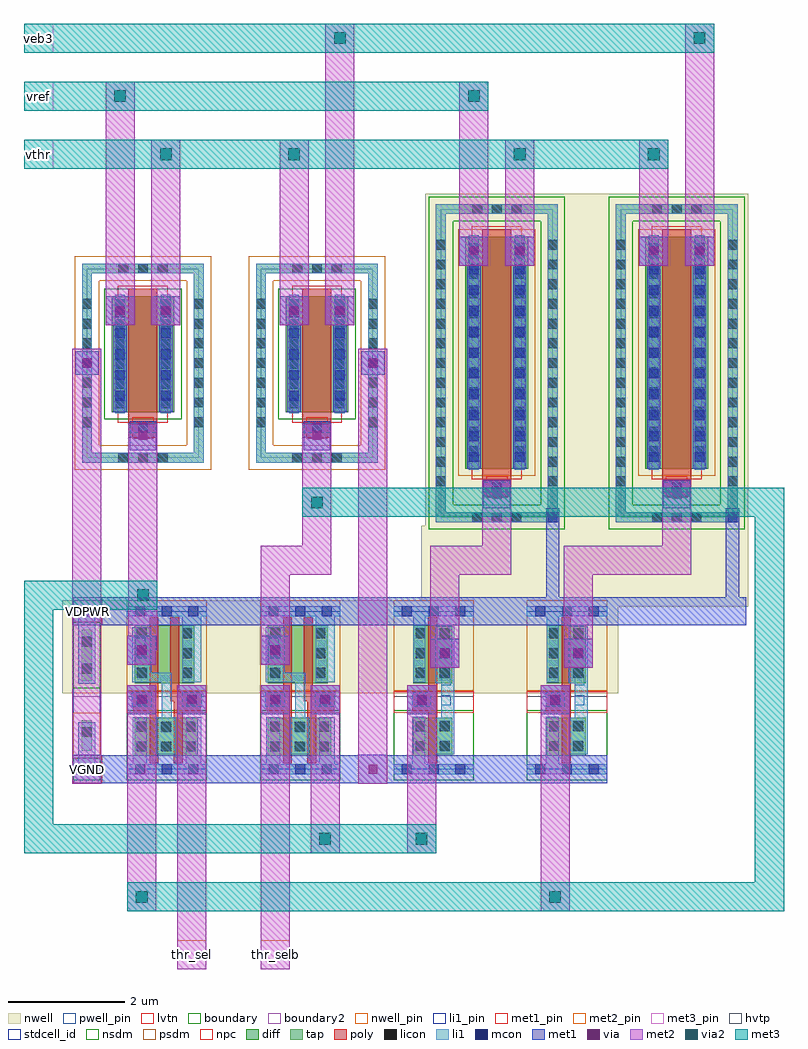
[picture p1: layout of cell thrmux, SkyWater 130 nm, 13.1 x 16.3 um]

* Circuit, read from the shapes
.subckt thrmux VDPWR VGND thr_sel thr_selb veb3 vref vthr
XM1 vthr sky130_fd_sc_hd__inv_1_8/A vref VGND sky130_fd_pr__nfet_01v8_lvt w=2 l=0.5
XM2 sky130_fd_sc_hd__inv_1_8/A sky130_fd_sc_hd__inv_1_7/A VGND VGND sky130_fd_pr__nfet_01v8 w=0.65 l=0.15
XM3 VGND thr_sel sky130_fd_sc_hd__inv_1_8/A VGND sky130_fd_pr__nfet_01v8 w=0.65 l=0.15
XM4 sky130_fd_sc_hd__inv_1_7/A thr_selb VGND VGND sky130_fd_pr__nfet_01v8 w=0.65 l=0.15
XM5 veb3 sky130_fd_sc_hd__inv_1_7/A vthr VGND sky130_fd_pr__nfet_01v8_lvt w=2 l=0.5
XM6 VGND sky130_fd_sc_hd__inv_1_8/A sky130_fd_sc_hd__inv_1_7/A VGND sky130_fd_pr__nfet_01v8 w=0.65 l=0.15
XM7 sky130_fd_pr__pfet_01v8_lvt_Q2BRHB_0/G sky130_fd_sc_hd__inv_1_8/A VGND VGND sky130_fd_pr__nfet_01v8 w=0.65 l=0.15
XM8 sky130_fd_pr__pfet_01v8_lvt_Q2BRHB_1/G sky130_fd_sc_hd__inv_1_7/A VGND VGND sky130_fd_pr__nfet_01v8 w=0.65 l=0.15
XM9 n1 sky130_fd_sc_hd__inv_1_7/A sky130_fd_sc_hd__inv_1_8/A VDPWR sky130_fd_pr__pfet_01v8_hvt w=1 l=0.15
XM10 VDPWR thr_sel n1 VDPWR sky130_fd_pr__pfet_01v8_hvt w=1 l=0.15
XM11 n2 thr_selb sky130_fd_sc_hd__inv_1_7/A VDPWR sky130_fd_pr__pfet_01v8_hvt w=1 l=0.15
XM12 VDPWR sky130_fd_sc_hd__inv_1_8/A n2 VDPWR sky130_fd_pr__pfet_01v8_hvt w=1 l=0.15
XM13 sky130_fd_pr__pfet_01v8_lvt_Q2BRHB_0/G sky130_fd_sc_hd__inv_1_8/A VDPWR VDPWR sky130_fd_pr__pfet_01v8_hvt w=1 l=0.15
XM14 vthr sky130_fd_pr__pfet_01v8_lvt_Q2BRHB_0/G vref VDPWR sky130_fd_pr__pfet_01v8_lvt w=4 l=0.5
XM15 sky130_fd_pr__pfet_01v8_lvt_Q2BRHB_1/G sky130_fd_sc_hd__inv_1_7/A VDPWR VDPWR sky130_fd_pr__pfet_01v8_hvt w=1 l=0.15
XM16 veb3 sky130_fd_pr__pfet_01v8_lvt_Q2BRHB_1/G vthr VDPWR sky130_fd_pr__pfet_01v8_lvt w=4 l=0.5
.ends

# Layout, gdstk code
import gdstk
lib = gdstk.Library(unit=1e-6, precision=1e-09)
def R(c, l, rs):  # rectangles x0, y0, x1, y1
    for r in rs: c.add(gdstk.rectangle(r[:2], r[2:], *l))
def A(c, l, x, y, w, h, nx, ny, dx, dy):  # array of equal rectangles
    R(c, l, [(x+i*dx, y+j*dy, x+i*dx+w, y+j*dy+h) for i in range(nx) for j in range(ny)])
def P(c, l, *ps):  # polygons
    for p in ps: c.add(gdstk.Polygon(p, *l))
nwell_pin = (64, 16)
nwell = (64, 20)
diff = (65, 20)
tap = (65, 44)
poly = (66, 20)
licon = (66, 44)
li1_pin = (67, 16)
li1 = (67, 20)
mcon = (67, 44)
met1_pin = (68, 16)
met1 = (68, 20)
via = (68, 44)
met2_pin = (69, 16)
met2 = (69, 20)
via2 = (69, 44)
met3_pin = (70, 16)
met3 = (70, 20)
hvtp = (78, 44)
stdcell_id = (81, 4)
nsdm = (93, 44)
psdm = (94, 20)
npc = (95, 20)
pwell_pin = (122, 16)
lvtn = (125, 44)
boundary = (235, 4)
boundary2 = (236, 0)

sky130_fd_pr__pfet_01v8_ = lib.new_cell('sky130_fd_pr__pfet_01v8_lvt_Q2BRHB')
R(sky130_fd_pr__pfet_01v8_, nwell, [(-1.23,-2.92,1.23,2.92)])
R(sky130_fd_pr__pfet_01v8_, diff, [(-0.54,-1.82,0.54,2.18)])
R(sky130_fd_pr__pfet_01v8_, tap, [(-1.05,-2.74,1.05,-2.57), (-1.05,-2.57,-0.88,2.57), (0.88,-2.57,1.05,2.57), (-1.05,2.57,1.05,2.74)])
R(sky130_fd_pr__pfet_01v8_, poly, [(-0.25,-2.305,0.25,2.31)])
A(sky130_fd_pr__pfet_01v8_, licon, -0.425, -2.74, 0.17, 0.17, 3, 2, 0.34, 5.31)
A(sky130_fd_pr__pfet_01v8_, licon, -1.05, -2.125, 0.17, 0.17, 1, 13, 0, 0.34)
A(sky130_fd_pr__pfet_01v8_, licon, 0.88, -2.125, 0.17, 0.17, 1, 13, 0, 0.34)
A(sky130_fd_pr__pfet_01v8_, licon, -0.48, -1.605, 0.17, 0.17, 1, 11, 0, 0.34)
A(sky130_fd_pr__pfet_01v8_, licon, 0.31, -1.605, 0.17, 0.17, 1, 11, 0, 0.34)
R(sky130_fd_pr__pfet_01v8_, licon, [(-0.085,-2.225,0.085,-2.055)])
R(sky130_fd_pr__pfet_01v8_, li1, [(-1.05,-2.74,1.05,-2.57), (-1.05,-2.57,-0.88,2.57), (0.88,-2.57,1.05,2.57), (-0.25,-2.225,0.25,-2.055), (-0.48,-1.84,-0.31,2.2), (0.31,-1.84,0.48,2.2), (-1.05,2.57,1.05,2.74)])
A(sky130_fd_pr__pfet_01v8_, mcon, -0.48, -1.705, 0.17, 0.17, 1, 11, 0, 0.36)
A(sky130_fd_pr__pfet_01v8_, mcon, 0.31, -1.705, 0.17, 0.17, 1, 11, 0, 0.36)
R(sky130_fd_pr__pfet_01v8_, mcon, [(-0.085,-2.225,0.085,-2.055)])
R(sky130_fd_pr__pfet_01v8_, met1, [(-0.23,-2.255,0.23,-2.025), (-0.51,-1.82,-0.28,2.18), (0.28,-1.82,0.51,2.18)])
R(sky130_fd_pr__pfet_01v8_, nsdm, [(-1.175,-2.865,1.175,-2.445), (-1.175,-2.445,-0.755,2.445), (0.755,-2.445,1.175,2.445), (-1.175,2.445,1.175,2.865)])
R(sky130_fd_pr__pfet_01v8_, psdm, [(-0.665,-1.945,0.665,2.305)])
R(sky130_fd_pr__pfet_01v8_, npc, [(-0.185,-2.325,0.185,-1.955)])
R(sky130_fd_pr__pfet_01v8_, lvtn, [(-0.43,-2,0.43,2.36)])
R(sky130_fd_pr__pfet_01v8_, boundary, [(-0.965,-2.655,0.965,2.655)])
sky130_fd_pr__pfet_01v8_.add(gdstk.Label('B', (0,-2.655), layer=67, texttype=5))
sky130_fd_pr__pfet_01v8_.add(gdstk.Label('D', (-0.395,0.18), layer=67, texttype=5))
sky130_fd_pr__pfet_01v8_.add(gdstk.Label('S', (0.395,0.18), layer=67, texttype=5))
sky130_fd_pr__pfet_01v8_.add(gdstk.Label('G', (0,-2.14), layer=67, texttype=5))

sky130_fd_pr__nfet_01v8_ = lib.new_cell('sky130_fd_pr__nfet_01v8_lvt_Q7Y8Y5')
R(sky130_fd_pr__nfet_01v8_, diff, [(-0.54,-0.845,0.54,1.155)])
R(sky130_fd_pr__nfet_01v8_, tap, [(-1.05,-1.715,1.05,-1.545), (-1.05,-1.545,-0.88,1.545), (0.88,-1.545,1.05,1.545), (-1.05,1.545,1.05,1.715)])
R(sky130_fd_pr__nfet_01v8_, poly, [(-0.25,-1.285,0.25,1.285)])
A(sky130_fd_pr__nfet_01v8_, licon, -0.425, -1.715, 0.17, 0.17, 3, 2, 0.34, 3.26)
A(sky130_fd_pr__nfet_01v8_, licon, -1.05, -1.105, 0.17, 0.17, 1, 7, 0, 0.34)
A(sky130_fd_pr__nfet_01v8_, licon, 0.88, -1.105, 0.17, 0.17, 1, 7, 0, 0.34)
A(sky130_fd_pr__nfet_01v8_, licon, -0.48, -0.78, 0.17, 0.17, 1, 6, 0, 0.34)
A(sky130_fd_pr__nfet_01v8_, licon, 0.31, -0.78, 0.17, 0.17, 1, 6, 0, 0.34)
R(sky130_fd_pr__nfet_01v8_, licon, [(-0.085,-1.205,0.085,-1.035)])
R(sky130_fd_pr__nfet_01v8_, li1, [(-1.05,-1.715,1.05,-1.545), (-1.05,-1.545,-0.88,1.545), (0.88,-1.545,1.05,1.545), (-0.25,-1.205,0.25,-1.035), (-0.48,-0.865,-0.31,1.175), (0.31,-0.865,0.48,1.175), (-1.05,1.545,1.05,1.715)])
A(sky130_fd_pr__nfet_01v8_, mcon, -0.48, -0.65, 0.17, 0.17, 1, 5, 0, 0.36)
A(sky130_fd_pr__nfet_01v8_, mcon, 0.31, -0.65, 0.17, 0.17, 1, 5, 0, 0.36)
R(sky130_fd_pr__nfet_01v8_, mcon, [(-0.085,-1.205,0.085,-1.035)])
R(sky130_fd_pr__nfet_01v8_, met1, [(-0.23,-1.235,0.23,-1.005), (-0.51,-0.845,-0.28,1.155), (0.28,-0.845,0.51,1.155)])
R(sky130_fd_pr__nfet_01v8_, nsdm, [(-0.665,-0.97,0.665,1.28)])
R(sky130_fd_pr__nfet_01v8_, psdm, [(-1.175,-1.84,1.175,-1.42), (-1.175,-1.42,-0.755,1.42), (0.755,-1.42,1.175,1.42), (-1.175,1.42,1.175,1.84)])
R(sky130_fd_pr__nfet_01v8_, npc, [(-0.185,-1.305,0.185,-0.935)])
R(sky130_fd_pr__nfet_01v8_, lvtn, [(-0.43,-1.025,0.43,1.335)])
R(sky130_fd_pr__nfet_01v8_, boundary, [(-0.965,-1.63,0.965,1.63)])
sky130_fd_pr__nfet_01v8_.add(gdstk.Label('B', (0,-1.63), layer=67, texttype=5))
sky130_fd_pr__nfet_01v8_.add(gdstk.Label('D', (-0.395,0.155), layer=67, texttype=5))
sky130_fd_pr__nfet_01v8_.add(gdstk.Label('S', (0.395,0.155), layer=67, texttype=5))
sky130_fd_pr__nfet_01v8_.add(gdstk.Label('G', (0,-1.12), layer=67, texttype=5))

sky130_fd_sc_hd__tapvpwr = lib.new_cell('sky130_fd_sc_hd__tapvpwrvgnd_1')
R(sky130_fd_sc_hd__tapvpwr, nwell, [(-0.19,1.305,0.65,2.91)])
R(sky130_fd_sc_hd__tapvpwr, tap, [(0.145,0.32,0.315,0.845), (0.145,1.525,0.315,2.4)])
R(sky130_fd_sc_hd__tapvpwr, licon, [(0.145,0.555,0.315,0.725), (0.145,1.645,0.315,1.815), (0.145,2.11,0.315,2.28)])
R(sky130_fd_sc_hd__tapvpwr, li1, [(0,-0.085,0.46,0.085), (0.085,0,0.375,0.81), (0.085,1.47,0.375,2.72), (0,2.635,0.46,2.805)])
R(sky130_fd_sc_hd__tapvpwr, mcon, [(0.145,-0.085,0.315,0.085), (0.145,2.635,0.315,2.805)])
R(sky130_fd_sc_hd__tapvpwr, met1_pin, [(0.105,-0.09,0.36,0.1), (0.11,2.62,0.375,2.765)])
R(sky130_fd_sc_hd__tapvpwr, met1, [(0,-0.24,0.46,0.24), (0,2.48,0.46,2.96)])
R(sky130_fd_sc_hd__tapvpwr, hvtp, [(0,1.25,0.46,2.72)])
R(sky130_fd_sc_hd__tapvpwr, stdcell_id, [(0,0,0.46,2.72)])
R(sky130_fd_sc_hd__tapvpwr, nsdm, [(0,-0.19,0.46,0.19), (0,1.395,0.46,2.53)])
R(sky130_fd_sc_hd__tapvpwr, psdm, [(0,0.19,0.46,0.975), (0,2.53,0.46,2.91)])
sky130_fd_sc_hd__tapvpwr.add(gdstk.Label('VPWR', (0.23,2.72), layer=68, texttype=5))
sky130_fd_sc_hd__tapvpwr.add(gdstk.Label('VGND', (0.23,0), layer=68, texttype=5))
sky130_fd_sc_hd__tapvpwr.add(gdstk.Label('tapvpwrvgnd_1', (0,0), layer=83, texttype=44))

sky130_fd_sc_hd__nor2_1 = lib.new_cell('sky130_fd_sc_hd__nor2_1')
R(sky130_fd_sc_hd__nor2_1, nwell_pin, [(0.15,2.635,0.32,2.805)])
R(sky130_fd_sc_hd__nor2_1, nwell, [(-0.19,1.305,1.57,2.91)])
R(sky130_fd_sc_hd__nor2_1, diff, [(0.135,0.235,1.225,0.885), (0.135,1.485,1.165,2.485)])
P(sky130_fd_sc_hd__nor2_1, poly, [(1.275,1.325),(0.905,1.325),(0.905,2.615),(0.755,2.615),(0.755,1.175),(0.815,1.175),(0.815,0.105),(0.965,0.105),(0.965,0.995),(1.275,0.995)],
  [(0.545,2.615),(0.395,2.615),(0.395,1.325),(0.11,1.325),(0.11,0.995),(0.395,0.995),(0.395,0.105),(0.545,0.105)])
A(sky130_fd_sc_hd__nor2_1, licon, 0.175, 0.305, 0.17, 0.17, 3, 2, 0.42, 0.34)
A(sky130_fd_sc_hd__nor2_1, licon, 0.175, 1.575, 0.17, 0.17, 1, 3, 0, 0.34)
A(sky130_fd_sc_hd__nor2_1, licon, 0.955, 1.575, 0.17, 0.17, 1, 3, 0, 0.34)
R(sky130_fd_sc_hd__nor2_1, licon, [(0.185,1.075,0.355,1.245), (1.025,1.075,1.195,1.245)])
R(sky130_fd_sc_hd__nor2_1, li1_pin, [(0.145,1.105,0.315,1.275), (1.065,1.105,1.235,1.275), (0.15,2.125,0.32,2.295)])
R(sky130_fd_sc_hd__nor2_1, li1, [(0.085,1.075,0.435,1.325), (0.945,1.075,1.295,1.325)])
P(sky130_fd_sc_hd__nor2_1, li1, [(1.38,0.085),(1.285,0.085),(1.285,0.895),(1.015,0.895),(1.015,0.085),(0.345,0.085),(0.345,0.895),(0.105,0.895),(0.105,0.085),(0,0.085),(0,-0.085),(1.38,-0.085)],
  [(1.38,2.805),(0,2.805),(0,2.635),(0.955,2.635),(0.955,1.495),(1.285,1.495),(1.285,2.635),(1.38,2.635)],
  [(0.845,0.895),(0.775,0.895),(0.775,1.665),(0.425,1.665),(0.425,2.45),(0.095,2.45),(0.095,1.495),(0.605,1.495),(0.605,0.895),(0.515,0.895),(0.515,0.255),(0.845,0.255)])
A(sky130_fd_sc_hd__nor2_1, mcon, 0.145, -0.085, 0.17, 0.17, 3, 2, 0.46, 2.72)
R(sky130_fd_sc_hd__nor2_1, met1_pin, [(0.15,-0.085,0.32,0.085), (0.15,2.635,0.32,2.805)])
R(sky130_fd_sc_hd__nor2_1, hvtp, [(0,1.25,1.38,2.72)])
R(sky130_fd_sc_hd__nor2_1, stdcell_id, [(0,0,1.38,2.72)])
R(sky130_fd_sc_hd__nor2_1, nsdm, [(0,-0.19,1.38,1.015)])
R(sky130_fd_sc_hd__nor2_1, psdm, [(0,1.355,1.38,2.91)])
R(sky130_fd_sc_hd__nor2_1, npc, [(0,0.975,1.38,1.345)])
R(sky130_fd_sc_hd__nor2_1, pwell_pin, [(0.15,-0.085,0.32,0.085)])
R(sky130_fd_sc_hd__nor2_1, boundary2, [(0,0,1.38,2.72)])
sky130_fd_sc_hd__nor2_1.add(gdstk.FlexPath([(0,2.72),(1.38,2.72)], 0.48, ends="flush", simple_path=True, layer=68, datatype=20))  # met1
sky130_fd_sc_hd__nor2_1.add(gdstk.FlexPath([(0,0),(1.38,0)], 0.48, ends="flush", simple_path=True, layer=68, datatype=20))  # met1
sky130_fd_sc_hd__nor2_1.add(gdstk.Label('B', (0.23,1.19), layer=67, texttype=5))
sky130_fd_sc_hd__nor2_1.add(gdstk.Label('Y', (0.235,2.21), layer=67, texttype=5))
sky130_fd_sc_hd__nor2_1.add(gdstk.Label('A', (1.15,1.19), layer=67, texttype=5))
sky130_fd_sc_hd__nor2_1.add(gdstk.Label('VPB', (0.235,2.72), layer=64, texttype=5))
sky130_fd_sc_hd__nor2_1.add(gdstk.Label('VNB', (0.235,0), layer=64, texttype=59))
sky130_fd_sc_hd__nor2_1.add(gdstk.Label('VGND', (0.23,0), layer=68, texttype=5))
sky130_fd_sc_hd__nor2_1.add(gdstk.Label('VPWR', (0.23,2.72), layer=68, texttype=5))
sky130_fd_sc_hd__nor2_1.add(gdstk.Label('nor2_1', (0,0), layer=83, texttype=44))

sky130_fd_sc_hd__inv_1 = lib.new_cell('sky130_fd_sc_hd__inv_1')
R(sky130_fd_sc_hd__inv_1, nwell_pin, [(0.145,2.635,0.315,2.805), (0.145,2.635,0.315,2.805)])
R(sky130_fd_sc_hd__inv_1, nwell, [(-0.19,1.305,1.57,2.91)])
R(sky130_fd_sc_hd__inv_1, diff, [(0.34,0.235,1.01,0.885), (0.34,1.485,1.01,2.485)])
P(sky130_fd_sc_hd__inv_1, poly, [(0.75,2.615),(0.6,2.615),(0.6,1.325),(0.32,1.325),(0.32,0.995),(0.6,0.995),(0.6,0.105),(0.75,0.105)])
A(sky130_fd_sc_hd__inv_1, licon, 0.38, 1.575, 0.17, 0.17, 1, 3, 0, 0.34)
A(sky130_fd_sc_hd__inv_1, licon, 0.8, 1.575, 0.17, 0.17, 1, 3, 0, 0.34)
R(sky130_fd_sc_hd__inv_1, licon, [(0.38,0.315,0.55,0.485), (0.8,0.315,0.97,0.485), (0.38,0.655,0.55,0.825), (0.8,0.655,0.97,0.825), (0.4,1.075,0.57,1.245)])
R(sky130_fd_sc_hd__inv_1, li1_pin, [(0.36,1.105,0.53,1.275), (0.82,1.105,0.99,1.275), (0.82,1.445,0.99,1.615)])
R(sky130_fd_sc_hd__inv_1, li1, [(0,-0.085,1.38,0.085), (0.32,0.005,0.55,0.905), (0.32,1.075,0.65,1.315), (0.34,1.495,0.55,2.675), (0,2.635,1.38,2.805)])
P(sky130_fd_sc_hd__inv_1, li1, [(1.05,2.465),(0.72,2.465),(0.72,1.485),(0.82,1.485),(0.82,0.885),(0.72,0.885),(0.72,0.255),(1.05,0.255)])
A(sky130_fd_sc_hd__inv_1, mcon, 0.145, -0.085, 0.17, 0.17, 3, 2, 0.46, 2.72)
R(sky130_fd_sc_hd__inv_1, met1_pin, [(0.145,-0.085,0.315,0.085), (0.145,-0.085,0.315,0.085), (0.145,2.635,0.315,2.805), (0.145,2.635,0.315,2.805)])
R(sky130_fd_sc_hd__inv_1, hvtp, [(0,1.25,1.38,2.72)])
R(sky130_fd_sc_hd__inv_1, stdcell_id, [(0,0,1.38,2.72)])
R(sky130_fd_sc_hd__inv_1, nsdm, [(0,-0.19,1.38,1.015)])
R(sky130_fd_sc_hd__inv_1, psdm, [(0,1.355,1.38,2.91)])
R(sky130_fd_sc_hd__inv_1, npc, [(0,0.975,1.38,1.345)])
R(sky130_fd_sc_hd__inv_1, pwell_pin, [(0.145,-0.085,0.315,0.085), (0.145,-0.085,0.315,0.085)])
R(sky130_fd_sc_hd__inv_1, boundary2, [(0,0,1.38,2.72)])
sky130_fd_sc_hd__inv_1.add(gdstk.FlexPath([(0,2.72),(1.38,2.72)], 0.48, ends="flush", simple_path=True, layer=68, datatype=20))  # met1
sky130_fd_sc_hd__inv_1.add(gdstk.FlexPath([(0,0),(1.38,0)], 0.48, ends="flush", simple_path=True, layer=68, datatype=20))  # met1
sky130_fd_sc_hd__inv_1.add(gdstk.Label('Y', (0.905,1.53), layer=67, texttype=5))
sky130_fd_sc_hd__inv_1.add(gdstk.Label('Y', (0.905,1.19), layer=67, texttype=5))
sky130_fd_sc_hd__inv_1.add(gdstk.Label('A', (0.445,1.19), layer=67, texttype=5))
sky130_fd_sc_hd__inv_1.add(gdstk.Label('VPB', (0.23,2.72), layer=64, texttype=5))
sky130_fd_sc_hd__inv_1.add(gdstk.Label('VNB', (0.23,0), layer=64, texttype=59))
sky130_fd_sc_hd__inv_1.add(gdstk.Label('VGND', (0.23,0), layer=68, texttype=5))
sky130_fd_sc_hd__inv_1.add(gdstk.Label('VPWR', (0.23,2.72), layer=68, texttype=5))
sky130_fd_sc_hd__inv_1.add(gdstk.Label('inv_1', (0,0), layer=83, texttype=44))

thrmux = lib.new_cell('thrmux')
R(thrmux, nwell, [(-0.19,1.305,9.39,2.8), (-0.19,2.8,11.63,2.91), (6,2.91,11.63,4.2), (8.4,4.2,9.3,9.92)])
R(thrmux, li1, [(5.92,1.11,6.09,1.28), (8.22,1.11,8.39,1.28), (1.095,1.115,1.265,1.285), (1.955,1.115,2.125,1.285), (3.395,1.115,3.565,1.285), (4.255,1.115,4.425,1.285), (6.32,1.915,6.49,2.085), (8.62,1.915,8.79,2.085), (1.095,1.965,1.265,2.135), (3.395,1.965,3.565,2.135), (8.18,4.26,8.35,4.43), (11.28,4.26,11.45,4.43), (0.15,6.915,0.32,7.085), (5.08,6.915,5.25,7.085)])
R(thrmux, mcon, [(5.92,1.11,6.09,1.28), (8.22,1.11,8.39,1.28), (1.095,1.115,1.265,1.285), (1.955,1.115,2.125,1.285), (3.395,1.115,3.565,1.285), (4.255,1.115,4.425,1.285), (6.32,1.915,6.49,2.085), (8.62,1.915,8.79,2.085), (1.095,1.965,1.265,2.135), (3.395,1.965,3.565,2.135), (8.18,4.26,8.35,4.43), (11.28,4.26,11.45,4.43), (0.15,6.915,0.32,7.085), (5.08,6.915,5.25,7.085)])
R(thrmux, met1_pin, [(0,-0.24,0.5,0.24), (0,2.48,0.5,2.96)])
R(thrmux, met1, [(-0.015,-0.25,0.485,-0.24), (4.915,-0.25,5.415,-0.24), (-0.015,-0.24,9.2,0.24), (-0.015,0.24,0.485,0.25), (4.915,0.24,5.415,0.25), (5.755,0.945,6.255,1.445), (8.055,0.945,8.555,1.445), (0.93,0.95,1.43,1.45), (1.79,0.95,2.29,1.45), (3.23,0.95,3.73,1.45), (4.09,0.95,4.59,1.45), (6.155,1.75,6.655,2.25), (8.455,1.75,8.955,2.25), (0.93,1.8,1.43,2.3), (3.23,1.8,3.73,2.3), (0,2.48,11.6,2.96), (8.15,2.96,8.38,4.5), (11.25,2.96,11.48,4.5), (7.07,4.5,7.53,4.975), (10.17,4.5,10.63,4.975), (0.97,5.5,1.43,5.995), (3.97,5.5,4.43,5.995), (0.035,6.8,0.435,7.2), (4.965,6.8,5.365,7.2), (0.555,7.655,1.055,8.155), (1.345,7.655,1.845,8.155), (3.555,7.655,4.055,8.155), (4.345,7.655,4.845,8.155), (6.655,8.68,7.155,9.18), (7.445,8.68,7.945,9.18), (9.755,8.68,10.255,9.18), (10.545,8.68,11.045,9.18)])
R(thrmux, via, [(0.16,-0.075,0.31,0.075), (5.09,-0.075,5.24,0.075), (5.93,1.12,6.08,1.27), (8.23,1.12,8.38,1.27), (1.105,1.125,1.255,1.275), (1.965,1.125,2.115,1.275), (3.405,1.125,3.555,1.275), (4.265,1.125,4.415,1.275), (6.33,1.925,6.48,2.075), (8.63,1.925,8.78,2.075), (1.105,1.975,1.255,2.125), (3.405,1.975,3.555,2.125), (7.225,4.665,7.375,4.815), (10.325,4.665,10.475,4.815), (1.125,5.675,1.275,5.825), (4.125,5.675,4.275,5.825), (0.16,6.925,0.31,7.075), (5.09,6.925,5.24,7.075), (0.73,7.83,0.88,7.98), (1.52,7.83,1.67,7.98), (3.73,7.83,3.88,7.98), (4.52,7.83,4.67,7.98), (6.83,8.855,6.98,9.005), (7.62,8.855,7.77,9.005), (9.93,8.855,10.08,9.005), (10.72,8.855,10.87,9.005)])
R(thrmux, met2_pin, [(1.79,-3.45,2.29,-2.95), (3.23,-3.45,3.73,-2.95)])
R(thrmux, met2, [(1.79,-3.45,2.29,1.45), (3.23,-3.45,3.73,1.45), (0.93,-2.45,1.43,1.45), (8.055,-2.45,8.555,1.445), (4.09,-1.45,4.59,1.45), (5.755,-1.45,6.255,1.445), (-0.015,-0.25,0.485,7.25), (4.915,-0.25,5.415,7.25), (6.155,1.75,6.655,3.35), (8.455,1.75,8.955,3.35), (0.93,1.8,1.43,2.05), (3.23,1.8,3.73,3.35), (0.93,2.05,1.45,2.3), (0.95,2.3,1.45,5.95), (3.23,3.35,4.45,3.85), (6.155,3.35,7.55,3.85), (8.455,3.35,10.65,3.85), (3.95,3.85,4.45,5.95), (7.05,3.85,7.55,4.99), (10.15,3.85,10.65,4.99), (0.555,7.655,1.055,11.85), (1.345,7.655,1.845,10.85), (3.555,7.655,4.055,10.85), (4.345,7.655,4.845,12.85), (6.655,8.68,7.155,11.85), (7.445,8.68,7.945,10.85), (9.755,8.68,10.255,10.85), (10.545,8.68,11.045,12.85)])
R(thrmux, via2, [(1.08,-2.3,1.28,-2.1), (8.205,-2.3,8.405,-2.1), (4.24,-1.3,4.44,-1.1), (5.905,-1.3,6.105,-1.1), (1.1,2.9,1.3,3.1), (4.1,4.5,4.3,4.7), (1.495,10.5,1.695,10.7), (3.705,10.5,3.905,10.7), (7.595,10.5,7.795,10.7), (9.905,10.5,10.105,10.7), (0.705,11.5,0.905,11.7), (6.805,11.5,7.005,11.7), (4.495,12.5,4.695,12.7), (10.695,12.5,10.895,12.7)])
A(thrmux, met3_pin, -0.85, 10.35, 0.5, 0.5, 1, 3, 0, 1)
R(thrmux, met3, [(0.93,-2.45,12.25,-1.95), (11.75,-1.95,12.25,4.35), (-0.85,-1.45,6.255,-0.95), (-0.85,-0.95,-0.35,2.75), (-0.85,2.75,1.45,3.25), (3.95,4.35,12.25,4.85), (-0.85,10.35,10.255,10.85), (-0.85,11.35,7.155,11.85), (-0.85,12.35,11.045,12.85)])
thrmux.add(gdstk.Reference(sky130_fd_pr__pfet_01v8_, (7.3,7)))
thrmux.add(gdstk.Reference(sky130_fd_pr__pfet_01v8_, (10.4,7)))
thrmux.add(gdstk.Reference(sky130_fd_pr__nfet_01v8_, (1.2,7)))
thrmux.add(gdstk.Reference(sky130_fd_pr__nfet_01v8_, (4.2,7)))
thrmux.add(gdstk.Reference(sky130_fd_sc_hd__tapvpwr, (0,0)))
thrmux.add(gdstk.Reference(sky130_fd_sc_hd__nor2_1, (3.22,0)))
thrmux.add(gdstk.Reference(sky130_fd_sc_hd__nor2_1, (0.92,0)))
thrmux.add(gdstk.Reference(sky130_fd_sc_hd__inv_1, (7.82,0)))
thrmux.add(gdstk.Reference(sky130_fd_sc_hd__inv_1, (5.52,0)))
thrmux.add(gdstk.Label('vref', (-0.6,11.6), layer=70, texttype=5))
thrmux.add(gdstk.Label('veb3', (-0.6,12.6), layer=70, texttype=5))
thrmux.add(gdstk.Label('thr_sel', (2.04,-3.2), layer=69, texttype=5))
thrmux.add(gdstk.Label('thr_selb', (3.48,-3.2), layer=69, texttype=5))
thrmux.add(gdstk.Label('vthr', (-0.6,10.6), layer=70, texttype=5))
thrmux.add(gdstk.Label('VDPWR', (0.25,2.72), layer=68, texttype=5))
thrmux.add(gdstk.Label('VGND', (0.25,0), layer=68, texttype=5))

lib.write_gds('thrmux.gds')
